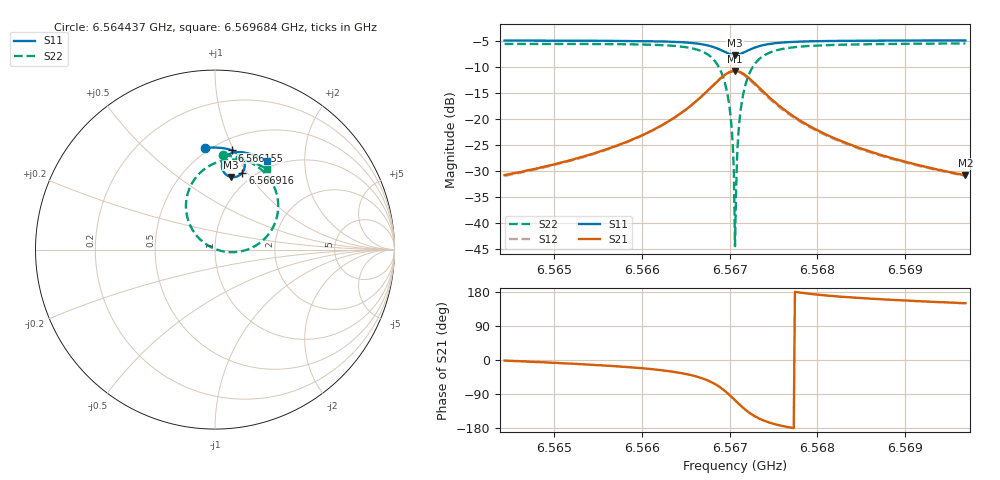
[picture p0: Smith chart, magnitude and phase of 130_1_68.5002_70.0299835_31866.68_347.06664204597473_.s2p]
#  HZ  S  RI  R  50.00
! Rohde & Schwarz Vector Network Analyzer
! Rohde-Schwarz,ZNB20-2Port,1311601062101988,3.16
! Created: UTC 3/20/2024, 4:54:20 PM
! freq[Hz]  re:S11  im:S11  re:S21  im:S21  re:S12  im:S12  re:S22  im:S22
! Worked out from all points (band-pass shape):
!   401 points, 6.564437 GHz to 6.569684 GHz, reference 50 ohm
!   highest |S21| = -10.72 dB at 6.567061 GHz (marker M1); lowest = -30.8 dB at 6.569684 GHz (marker M2)
!   |S21| within 3 dB of the highest: 6.566797 GHz to 6.567322 GHz (524.9 kHz wide, 0.00799 % of centre)
!   lowest |S11| = -7.6 dB at 6.567061 GHz (marker M3), VSWR 2.42, Z = 41.5 + j40.7 ohm
!   |S11| at or under -10 dB: nowhere
!   |S22| runs from -44.4 to -5.4 dB; largest |S21 - S12| = 0.014
!   S11 on the Smith chart (normalised r, x): 6.564437 GHz: 0.47, +0.79; 6.566155 GHz: 0.61, +0.98; 6.566916 GHz: 0.88, +0.95; 6.569684 GHz: 0.90, +1.31
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6.5644371e9  -0.0561 0.5666  0.0291 -0.000744  0.0286 -0.00124  0.0459 0.5264
6.5653159e9  0.0165 0.5678  0.0427 -0.00846  0.0418 -0.00887  0.1309 0.5118
6.5661555e9  0.0963 0.5524  0.0736 -0.0348  0.0724 -0.0355  0.2448 0.4563
6.5661948e9  0.1006 0.5507  0.0759 -0.0374  0.0747 -0.0382  0.2518 0.4505
6.5667064e9  0.1607 0.4956  0.112 -0.1327  0.1091 -0.1356  0.3515 0.2648
6.5668245e9  0.1653 0.4619  0.1007 -0.1921  0.0957 -0.1957  0.3357 0.152
6.5669163e9  0.1523 0.4291  0.0608 -0.248  0.0521 -0.2511  0.2626 0.0475
6.566995e9  0.1222 0.4071  -0.00774 -0.2824  -0.02 -0.2816  0.1359 -0.0113
6.5670213e9  0.1088 0.4041  -0.0364 -0.2855  -0.0492 -0.2826  0.0838 -0.0144
6.5670344e9  0.1017 0.4037  -0.0513 -0.2851  -0.064 -0.281  0.0574 -0.0118
6.5670475e9  0.0946 0.4041  -0.066 -0.283  -0.0787 -0.2778  0.0315 -0.00665
6.5670606e9  0.0875 0.4052  -0.0806 -0.2796  -0.093 -0.2733  0.00588 0.0014
6.5670868e9  0.0744 0.4099  -0.1083 -0.2685  -0.1196 -0.2599  -0.0416 0.0248
6.5671e9  0.0681 0.4133  -0.1212 -0.261  -0.1317 -0.2517  -0.063 0.0398
6.5671131e9  0.0624 0.4174  -0.1329 -0.2525  -0.1426 -0.2422  -0.0825 0.0564
6.5671393e9  0.0527 0.4269  -0.153 -0.2327  -0.1609 -0.2214  -0.1146 0.0938
6.5671918e9  0.041 0.449  -0.1794 -0.1885  -0.1832 -0.1764  -0.153 0.175
6.5672574e9  0.0387 0.476  -0.1892 -0.1357  -0.1892 -0.1248  -0.1605 0.2684
6.5675066e9  0.077 0.5306  -0.1449 -0.0283  -0.1415 -0.024  -0.0583 0.4488
6.5679395e9  0.1399 0.5432  -0.0828 0.00878  -0.0809 0.0101  0.0808 0.5013
6.5688184e9  0.2232 0.5239  -0.0401 0.0154  -0.0392 0.0156  0.2118 0.4841
6.5696842e9  0.288 0.4932  -0.025 0.0145  -0.0245 0.0148  0.2896 0.4491
